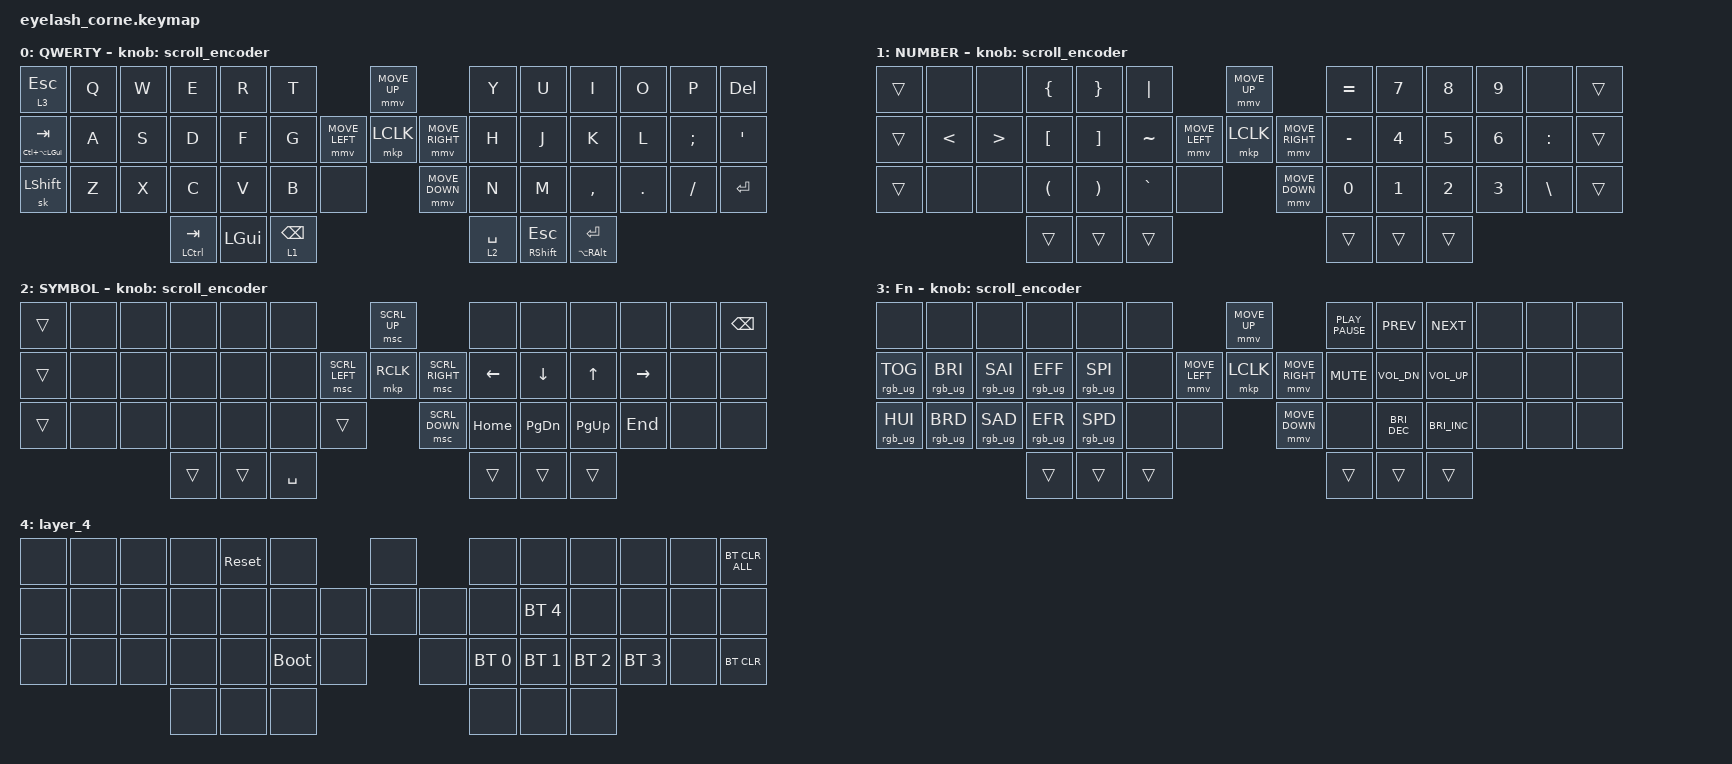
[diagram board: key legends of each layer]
#define ZMK_POINTING_DEFAULT_MOVE_VAL 1200  // 600
#define ZMK_POINTING_DEFAULT_SCRL_VAL 25   // 10

#include <input/processors.dtsi>
#include <zephyr/dt-bindings/input/input-event-codes.h>
#include <behaviors.dtsi>
#include <dt-bindings/zmk/bt.h>
#include <dt-bindings/zmk/keys.h>
#include <dt-bindings/zmk/pointing.h>
#include <dt-bindings/zmk/rgb.h>

&mmv_input_listener { input-processors = <&zip_xy_scaler 2 1>; };

&msc_input_listener { input-processors = <&zip_scroll_scaler 2 1>; };

&msc {
    acceleration-exponent = <1>;      // 0
    time-to-max-speed-ms = <100>;       // 300
    delay-ms = <0>;                   // 0
};

&mmv {
    time-to-max-speed-ms = <500>;
    acceleration-exponent = <1>;
    trigger-period-ms = <16>;
};

/ {
    behaviors {
        td0: td0 {
            compatible = "zmk,behavior-tap-dance";
            display-name = "Shift/Caps Lock Tap Dance";
            #binding-cells = <0>;
            bindings = <&kp LEFT_SHIFT>, <&kp CAPS>;
        };
    };

    rgb_encoder: rgb_encoder {
        compatible = "zmk,behavior-sensor-rotate";
        #sensor-binding-cells = <0>;
        bindings = <&rgb_ug RGB_BRI>, <&rgb_ug RGB_BRD>;
    };

    scroll_encoder: scroll_encoder {
        compatible = "zmk,behavior-sensor-rotate";
        #sensor-binding-cells = <0>;
        bindings = <&msc SCRL_DOWN>, <&msc SCRL_UP>;

        tap-ms = <100>;
    };

    macros {
        clipboard_macro: clipboard_macro {
            compatible = "zmk,behavior-macro";
            #binding-cells = <0>;
            bindings = <&none>;
            label = "CLIPBOARD_MACRO";
        };
    };

    combos {
        compatible = "zmk,combos";

        BT_sticky {
            bindings = <&sl 4>;
            key-positions = <0 28>;
        };
    };

    keymap {
        compatible = "zmk,keymap";

        default_layer {
            display-name = "QWERTY";
            bindings = <
&lt 3 ESCAPE              &kp Q  &kp W  &kp E                 &kp R         &kp T                                     &mmv MOVE_UP                     &kp Y        &kp U                   &kp I                    &kp O    &kp P     &kp DELETE
&mt LC(LA(LEFT_GUI)) TAB  &kp A  &kp S  &kp D                 &kp F         &kp G                     &mmv MOVE_LEFT  &mkp LCLK       &mmv MOVE_RIGHT  &kp H        &kp J                   &kp K                    &kp L    &kp SEMI  &kp SQT
&sk LEFT_SHIFT            &kp Z  &kp X  &kp C                 &kp V         &kp B            &none                    &mmv MOVE_DOWN                   &kp N        &kp M                   &kp COMMA                &kp DOT  &kp FSLH  &kp ENTER
                                        &mt LEFT_CONTROL TAB  &kp LEFT_GUI  &lt 1 BACKSPACE                                                            &lt 2 SPACE  &mt RIGHT_SHIFT ESCAPE  &mt LA(RIGHT_ALT) ENTER
            >;

            sensor-bindings = <&scroll_encoder>;
        };

        lower_layer {
            display-name = "NUMBER";
            bindings = <
&trans  &none          &none             &kp LEFT_BRACE  &kp RIGHT_BRACE  &kp PIPE                            &mmv MOVE_UP                     &kp EQUAL  &kp N7  &kp N8  &kp N9  &none      &trans
&trans  &kp LESS_THAN  &kp GREATER_THAN  &kp LBKT        &kp RBKT         &kp TILDE           &mmv MOVE_LEFT  &mkp LCLK       &mmv MOVE_RIGHT  &kp MINUS  &kp N4  &kp N5  &kp N6  &kp COLON  &trans
&trans  &none          &none             &kp LPAR        &kp RPAR         &kp GRAVE  &none                    &mmv MOVE_DOWN                   &kp N0     &kp N1  &kp N2  &kp N3  &kp BSLH   &trans
                                         &trans          &trans           &trans                                                               &trans     &trans  &trans
            >;

            sensor-bindings = <&scroll_encoder>;
        };

        raise_layer {
            display-name = "SYMBOL";
            bindings = <
&trans  &none  &none  &none   &none   &none                                &msc SCRL_UP                     &none     &none          &none        &none      &none  &kp BSPC
&trans  &none  &none  &none   &none   &none                &msc SCRL_LEFT  &mkp RCLK       &msc SCRL_RIGHT  &kp LEFT  &kp DOWN       &kp UP       &kp RIGHT  &none  &none
&trans  &none  &none  &none   &none   &none      &trans                    &msc SCRL_DOWN                   &kp HOME  &kp PAGE_DOWN  &kp PAGE_UP  &kp END    &none  &none
                      &trans  &trans  &kp SPACE                                                             &trans    &trans         &trans
            >;

            sensor-bindings = <&scroll_encoder>;
        };

        layer_3 {
            display-name = "Fn";
            bindings = <
&none            &none            &none            &none            &none            &none                            &mmv MOVE_UP                     &kp K_PLAY_PAUSE  &kp K_PREV            &kp K_NEXT            &none  &none  &none
&rgb_ug RGB_TOG  &rgb_ug RGB_BRI  &rgb_ug RGB_SAI  &rgb_ug RGB_EFF  &rgb_ug RGB_SPI  &none            &mmv MOVE_LEFT  &mkp LCLK       &mmv MOVE_RIGHT  &kp K_MUTE        &kp C_VOL_DN          &kp C_VOL_UP          &none  &none  &none
&rgb_ug RGB_HUI  &rgb_ug RGB_BRD  &rgb_ug RGB_SAD  &rgb_ug RGB_EFR  &rgb_ug RGB_SPD  &none   &none                    &mmv MOVE_DOWN                   &none             &kp C_BRIGHTNESS_DEC  &kp C_BRIGHTNESS_INC  &none  &none  &none
                                                   &trans           &trans           &trans                                                            &trans            &trans                &trans
            >;

            sensor-bindings = <&scroll_encoder>;
        };

        layer_4 {
            bindings = <
&none  &none  &none  &none  &sys_reset  &none                        &none         &none         &none         &none         &none         &none  &bt BT_CLR_ALL
&none  &none  &none  &none  &none       &none                 &none  &none  &none  &none         &bt BT_SEL 4  &none         &none         &none  &none
&none  &none  &none  &none  &none       &bootloader  &none           &none         &bt BT_SEL 0  &bt BT_SEL 1  &bt BT_SEL 2  &bt BT_SEL 3  &none  &bt BT_CLR
                     &none  &none       &none                                      &none         &none         &none
            >;
        };
    };
};
